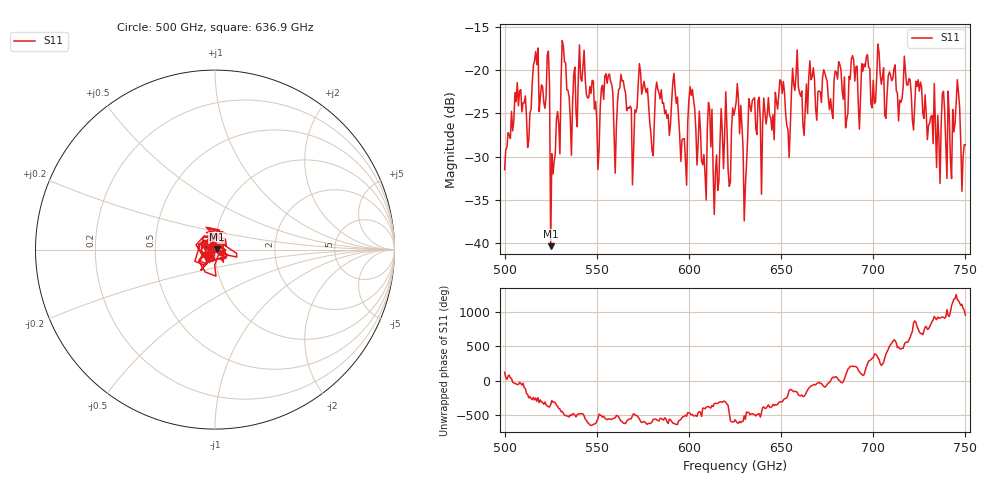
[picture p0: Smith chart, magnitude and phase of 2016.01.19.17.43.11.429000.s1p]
!Created with skrf (http://scikit-rf.org).
# GHz S RI R 50.0
!freq ReS11 ImS11
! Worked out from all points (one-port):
!   401 points, 500 GHz to 750 GHz, reference 50 ohm
!   lowest |S11| = -40.4 dB at 525 GHz (marker M1), VSWR 1.02, Z = 50.9 + j0.199 ohm
!   |S11| at or under -10 dB: start of sweep to end of sweep
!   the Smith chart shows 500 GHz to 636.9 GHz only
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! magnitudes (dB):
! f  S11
! 500 GHz  -31.5
! 506.9 GHz  -21.5
! 513.1 GHz  -28.1
! 516.9 GHz  -17.9
! 523.1 GHz  -18.3
! 525 GHz  -40.4
! 526.2 GHz  -32.0
! 531.2 GHz  -16.6
! 535.6 GHz  -25.6
! 541.9 GHz  -21.3
! 550 GHz  -25.7
! 562.5 GHz  -22.1
! 570 GHz  -29.3
! 573.8 GHz  -20.3
! 580 GHz  -29.4
! 593.8 GHz  -23.1
! 597.5 GHz  -27.9
! 601.9 GHz  -22.2
! 608.1 GHz  -29.8
! 611.2 GHz  -24.6
! 615 GHz  -29.8
! 625 GHz  -24.5
! 630.6 GHz  -33.4
! 633.8 GHz  -24.8
! 656.2 GHz  -19.8
! 687.5 GHz  -21.1
! 718.8 GHz  -21.8
! 750 GHz  -28.6
